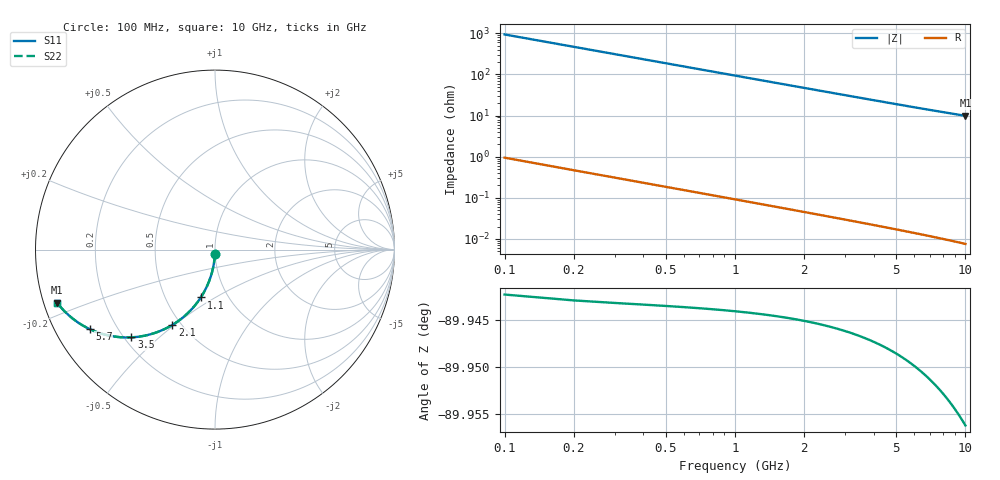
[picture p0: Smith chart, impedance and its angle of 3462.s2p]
# Hz S RI R 50.00
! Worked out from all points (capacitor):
!   100 points, 100 MHz to 10 GHz, reference 50 ohm
!   read as one part in shunt: C = 1.69 pF near 100 MHz
!   lowest |Z| = 9.89 ohm at 10 GHz (marker M1)
!   S11 on the Smith chart (normalised r, x): 100 MHz: 1.00, -0.05; 1.1 GHz: 0.75, -0.43; 2.1 GHz: 0.45, -0.49; 3.5 GHz: 0.23, -0.41; 5.7 GHz: 0.10, -0.29; 10 GHz: 0.04, -0.16
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1e8  -0.000651 -0.0263  0.9992 -0.0268  0.9992 -0.0268  -0.000651 -0.0263
2e8  -0.00279 -0.0525  0.997 -0.0536  0.997 -0.0536  -0.00279 -0.0525
3e8  -0.00632 -0.0784  0.9935 -0.08  0.9935 -0.08  -0.00632 -0.0784
4e8  -0.0112 -0.1041  0.9886 -0.1062  0.9886 -0.1062  -0.0112 -0.1041
5e8  -0.0174 -0.1293  0.9824 -0.1319  0.9824 -0.1319  -0.0174 -0.1293
6e8  -0.0249 -0.1539  0.9749 -0.1571  0.9749 -0.1571  -0.0249 -0.1539
7e8  -0.0336 -0.178  0.9663 -0.1817  0.9663 -0.1817  -0.0336 -0.178
9e8  -0.0543 -0.2238  0.9455 -0.2287  0.9455 -0.2287  -0.0543 -0.2238
1.1e9  -0.079 -0.2664  0.9208 -0.2723  0.9208 -0.2723  -0.079 -0.2664
1.4e9  -0.1219 -0.3231  0.8779 -0.3306  0.8779 -0.3306  -0.1219 -0.3231
1.8e9  -0.1867 -0.3844  0.8131 -0.3941  0.8131 -0.3941  -0.1867 -0.3844
2.1e9  -0.2381 -0.4199  0.7617 -0.4311  0.7617 -0.4311  -0.2381 -0.4199
2.7e9  -0.3408 -0.4663  0.6589 -0.4808  0.6589 -0.4808  -0.3408 -0.4663
3.4e9  -0.4508 -0.4879  0.5488 -0.5063  0.5488 -0.5063  -0.4508 -0.4879
3.5e9  -0.4653 -0.4888  0.5344 -0.5077  0.5344 -0.5077  -0.4653 -0.4888
4.3e9  -0.5682 -0.4831  0.4313 -0.5064  0.4313 -0.5064  -0.5682 -0.4831
5.1e9  -0.6499 -0.4625  0.3495 -0.4903  0.3495 -0.4903  -0.6499 -0.4625
5.7e9  -0.6992 -0.4424  0.3002 -0.4735  0.3002 -0.4735  -0.6992 -0.4424
6.7e9  -0.7633 -0.4058  0.2358 -0.4426  0.2358 -0.4426  -0.7633 -0.4058
7.5e9  -0.8023 -0.3766  0.1966 -0.418  0.1966 -0.418  -0.8023 -0.3766
8.4e9  -0.8365 -0.3454  0.1622 -0.392  0.1622 -0.392  -0.8365 -0.3454
1e10  -0.8798 -0.2955  0.1184 -0.3517  0.1184 -0.3517  -0.8798 -0.2955
